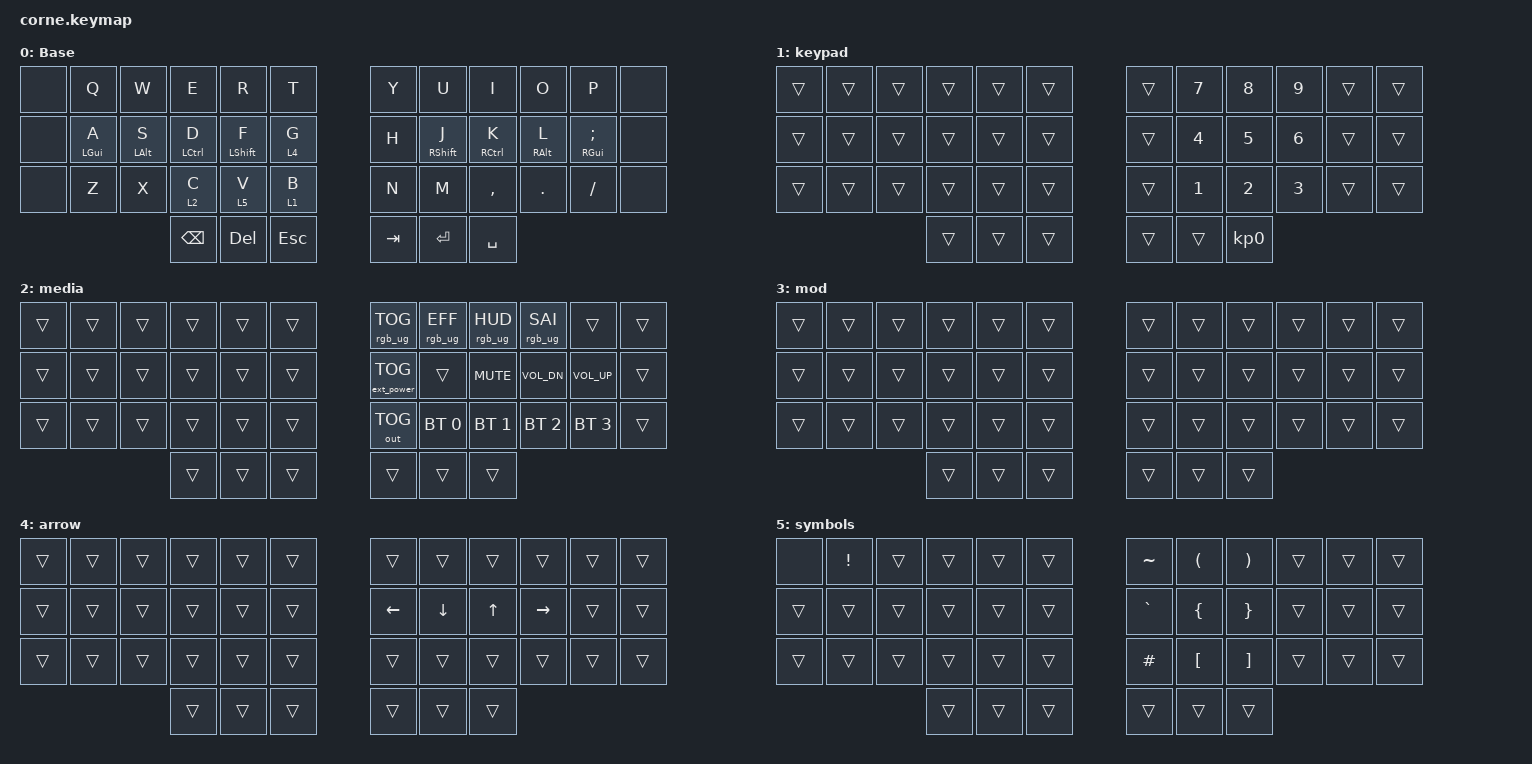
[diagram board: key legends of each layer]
/*
 * Copyright (c) 2020 The ZMK Contributors
 *
 * SPDX-License-Identifier: MIT
 */

#include <behaviors.dtsi>
#include <dt-bindings/zmk/bt.h>
#include <dt-bindings/zmk/ext_power.h>
#include <dt-bindings/zmk/keys.h>
#include <dt-bindings/zmk/outputs.h>
#include <dt-bindings/zmk/rgb.h>

&led_strip { chain-length = <27>; };

/ {
    behaviors {
        hm: homerow_mods {
            compatible = "zmk,behavior-hold-tap";
            label = "HOMEROW_MODS";
            #binding-cells = <2>;
            tapping-term-ms = <200>;
            quick_tap_ms = <175>;
            flavor = "tap-preferred";
            bindings = <&kp>, <&kp>;
        };
    };

    combos {
        compatible = "zmk,combos";

        caps_lock {
            bindings = <&caps_word>;
            key-positions = <16 19>;
        };

        equal {
            bindings = <&kp KP_EQUAL>;
            key-positions = <6 7>;
        };

        minus {
            bindings = <&kp KP_SUBTRACT>;
            key-positions = <18 19>;
        };

        underscore {
            bindings = <&kp UNDER>;
            key-positions = <30 31>;
        };

        backslash {
            bindings = <&kp BACKSLASH>;
            key-positions = <34 33>;
        };

        squote {
            bindings = <&kp SINGLE_QUOTE>;
            key-positions = <31 32>;
        };

        dquote {
            bindings = <&kp DOUBLE_QUOTES>;
            key-positions = <19 20>;
        };

        pipe {
            bindings = <&kp PIPE>;
            key-positions = <40 19 8>;
        };

        et {
            bindings = <&kp RA(E)>;
            key-positions = <3 4>;
        };

        est {
            bindings = <&kp RA(GRAVE)>;
            key-positions = <2 3>;
        };

        at {
            bindings = <&kp AT_SIGN>;
            key-positions = <7 20 21>;
        };

        and {
            bindings = <&kp AMPS>;
            key-positions = <18 20>;
        };

        star {
            bindings = <&kp STAR>;
            key-positions = <30 31 32>;
        };

        hash {
            bindings = <&kp HASH>;
            key-positions = <6 7 8>;
        };
    };

    keymap {
        compatible = "zmk,keymap";

        Base {
            // -----------------------------------------------------------------------------------------
            // |  TAB |  Q  |  W  |  E  |  R  |  T  |   |  Y  |  U   |  I  |  O  |  P  | BKSP |
            // | CTRL |  A  |  S  |  D  |  F  |  G  |   |  H  |  J   |  K  |  L  |  ;  |  '   |
            // | SHFT |  Z  |  X  |  C  |  V  |  B  |   |  N  |  M   |  ,  |  .  |  /  | ESC  |
            //                    | GUI | LWR | SPC |   | ENT | RSE  | ALT |

            bindings = <
&none  &kp Q           &kp W           &kp E          &kp R             &kp T         &kp Y    &kp U              &kp I        &kp O            &kp P                    &none
&none  &hm LEFT_GUI A  &hm LEFT_ALT S  &hm LCTRL D    &hm LEFT_SHIFT F  &lt 4 G       &kp H    &hm RIGHT_SHIFT J  &hm RCTRL K  &hm RIGHT_ALT L  &hm RIGHT_GUI SEMICOLON  &none
&none  &kp Z           &kp X           &lt 2 C        &lt 5 V           &lt 1 B       &kp N    &kp M              &kp COMMA    &kp DOT          &kp FSLH                 &none
                                       &kp BACKSPACE  &kp DELETE        &kp ESCAPE    &kp TAB  &kp ENTER          &kp SPACE
            >;
        };

        keypad {
            bindings = <
&trans  &trans  &trans  &trans  &trans  &trans    &trans  &kp NUMBER_7  &kp N8           &kp NUMBER_9  &trans  &trans
&trans  &trans  &trans  &trans  &trans  &trans    &trans  &kp NUMBER_4  &kp NUMBER_5     &kp NUMBER_6  &trans  &trans
&trans  &trans  &trans  &trans  &trans  &trans    &trans  &kp NUMBER_1  &kp NUMBER_2     &kp NUMBER_3  &trans  &trans
                        &trans  &trans  &trans    &trans  &trans        &kp KP_NUMBER_0
            >;
        };

        media {
            bindings = <
&trans  &trans  &trans  &trans  &trans  &trans    &rgb_ug RGB_TOG    &rgb_ug RGB_EFF  &rgb_ug RGB_HUD  &rgb_ug RGB_SAI  &trans           &trans
&trans  &trans  &trans  &trans  &trans  &trans    &ext_power EP_TOG  &trans           &kp C_MUTE       &kp C_VOL_DN     &kp C_VOLUME_UP  &trans
&trans  &trans  &trans  &trans  &trans  &trans    &out OUT_TOG       &bt BT_SEL 0     &bt BT_SEL 1     &bt BT_SEL 2     &bt BT_SEL 3     &trans
                        &trans  &trans  &trans    &trans             &trans           &trans
            >;
        };

        mod {
            bindings = <
&trans  &trans  &trans  &trans  &trans  &trans    &trans  &trans  &trans  &trans  &trans  &trans
&trans  &trans  &trans  &trans  &trans  &trans    &trans  &trans  &trans  &trans  &trans  &trans
&trans  &trans  &trans  &trans  &trans  &trans    &trans  &trans  &trans  &trans  &trans  &trans
                        &trans  &trans  &trans    &trans  &trans  &trans
            >;
        };

        arrow {
            bindings = <
&trans  &trans  &trans  &trans  &trans  &trans    &trans          &trans          &trans        &trans           &trans  &trans
&trans  &trans  &trans  &trans  &trans  &trans    &kp LEFT_ARROW  &kp DOWN_ARROW  &kp UP_ARROW  &kp RIGHT_ARROW  &trans  &trans
&trans  &trans  &trans  &trans  &trans  &trans    &trans          &trans          &trans        &trans           &trans  &trans
                        &trans  &trans  &trans    &trans          &trans          &trans
            >;
        };

        symbols {
            bindings = <
&none   &kp EXCLAMATION  &trans  &trans  &trans  &trans    &kp TILDE  &kp LEFT_PARENTHESIS  &kp RIGHT_PARENTHESIS  &trans  &trans  &trans
&trans  &trans           &trans  &trans  &trans  &trans    &kp GRAVE  &kp LEFT_BRACE        &kp RIGHT_BRACE        &trans  &trans  &trans
&trans  &trans           &trans  &trans  &trans  &trans    &kp HASH   &kp LEFT_BRACKET      &kp RIGHT_BRACKET      &trans  &trans  &trans
                                 &trans  &trans  &trans    &trans     &trans                &trans
            >;
        };
    };
};
